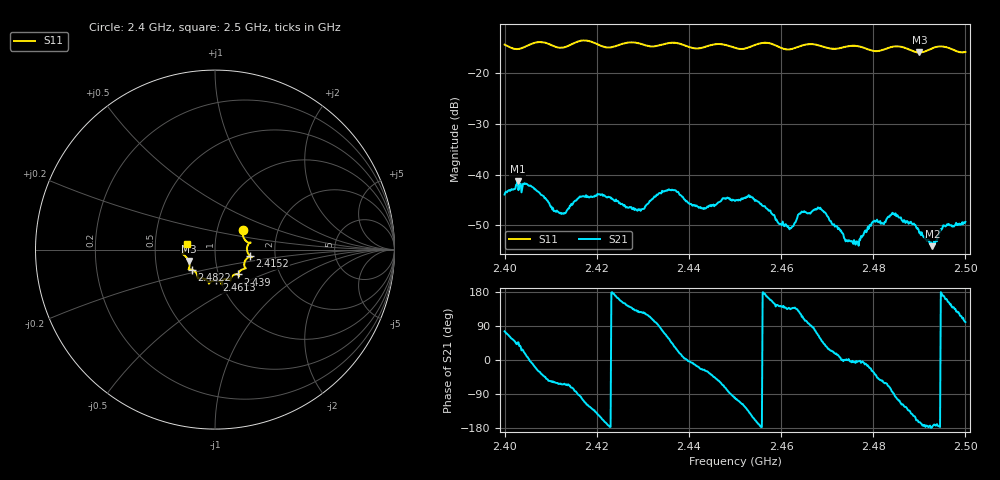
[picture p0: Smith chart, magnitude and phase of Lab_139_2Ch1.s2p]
# Hz S RI R 50
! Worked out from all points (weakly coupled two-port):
!   601 points, 2.4 GHz to 2.5 GHz, reference 50 ohm
!   highest |S21| = -41.36 dB at 2.4028 GHz (marker M1); lowest = -54.1 dB at 2.4928 GHz (marker M2)
!   lowest |S11| = -15.9 dB at 2.49 GHz (marker M3), VSWR 1.38, Z = 36.9 - j4.83 ohm
!   |S11| at or under -10 dB: start of sweep to end of sweep
!   S12 and S22 are empty: the file has one direction only
!   S11 on the Smith chart (normalised r, x): 2.4 GHz: 1.33, +0.31; 2.4152 GHz: 1.48, -0.11; 2.439 GHz: 1.24, -0.35; 2.4613 GHz: 0.96, -0.34; 2.4822 GHz: 0.76, -0.17; 2.5 GHz: 0.73, +0.05
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2.4e9  0.155 0.1118  0.00157 0.00616  0 0  0 0
2.402833e9  0.1604 0.0648  0.00592 0.00617  0 0  0 0
2.406e9  0.1918 0.0375  0.00746 -0.00117  0 0  0 0
2.412333e9  0.1777 0.000613  0.00179 -0.00368  0 0  0 0
2.415167e9  0.1951 -0.0365  0.000817 -0.00539  0 0  0 0
2.416667e9  0.2047 -0.0425  -0.00103 -0.00597  0 0  0 0
2.429e9  0.1671 -0.1053  -0.00287 0.00355  0 0  0 0
2.433333e9  0.1321 -0.1323  -0.000277 0.00638  0 0  0 0
2.439e9  0.1277 -0.1384  0.00567 0.000384  0 0  0 0
2.443167e9  0.0897 -0.1555  0.00411 -0.00201  0 0  0 0
2.45e9  0.0689 -0.1636  -0.000899 -0.00542  0 0  0 0
2.453333e9  0.0372 -0.1781  -0.00483 -0.00379  0 0  0 0
2.461333e9  0.00738 -0.1711  -0.00214 0.00219  0 0  0 0
2.466667e9  -0.034 -0.1903  9.78e-05 0.00432  0 0  0 0
2.469e9  -0.0364 -0.1795  0.00292 0.0033  0 0  0 0
2.475667e9  -0.0935 -0.161  0.00207 -0.000178  0 0  0 0
2.482167e9  -0.1283 -0.1115  0.00171 -0.00279  0 0  0 0
2.483333e9  -0.1395 -0.11  0.00139 -0.0036  0 0  0 0
2.49e9  -0.1466 -0.0637  -0.00257 -0.000719  0 0  0 0
2.492833e9  -0.1735 -0.0291  -0.00196 -0.000166  0 0  0 0
2.4955e9  -0.1807 -0.02  -0.00302 0.000813  0 0  0 0
2.5e9  -0.1579 0.0338  -0.000605 0.00337  0 0  0 0
